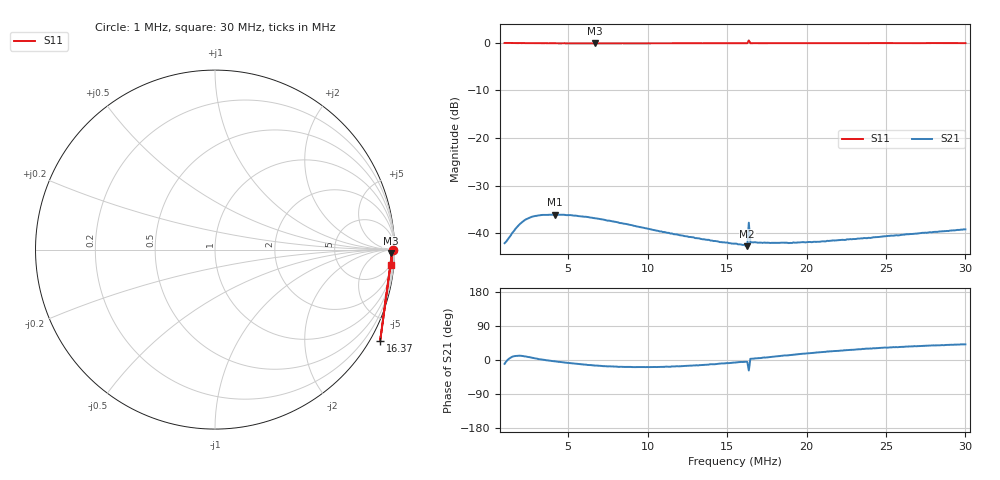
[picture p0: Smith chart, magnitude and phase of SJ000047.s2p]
!File created by NanoVNA-F V2
# Hz S RI R 50
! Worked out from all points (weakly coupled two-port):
!   301 points, 1 MHz to 30 MHz, reference 50 ohm
!   highest |S21| = -36.06 dB at 4.19 MHz (marker M1); lowest = -42.7 dB at 16.27 MHz (marker M2)
!   lowest |S11| = -0.2 dB at 6.703 MHz (marker M3), VSWR 90.15, Z = 2.38e+03 - j2.25e+03 ohm
!   |S11| at or under -10 dB: nowhere
!   S12 and S22 are empty: the file has one direction only
!   S11 on the Smith chart (normalised r, x): 1 MHz: open; 16.37 MHz: -0.40, -3.83; 30 MHz: 4, -23
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1000000  0.9903 -0.00298  0.00777 -0.00138  0 0  0 0
1773328  0.9882 -0.00886  0.0114 0.0022  0 0  0 0
2063326  0.986 -0.00968  0.0127 0.00246  0 0  0 0
2353324  0.9859 -0.0114  0.0139 0.00223  0 0  0 0
2739988  0.9858 -0.0132  0.0149 0.00153  0 0  0 0
3126652  0.9861 -0.0143  0.0154 0.000677  0 0  0 0
4189978  0.9829 -0.0161  0.0157 -0.000984  0 0  0 0
5156638  0.9799 -0.0181  0.0154 -0.0023  0 0  0 0
5833300  0.9804 -0.0193  0.0148 -0.00298  0 0  0 0
6703294  0.9778 -0.0205  0.0139 -0.00367  0 0  0 0
1.06666e7  0.9819 -0.0285  0.0101 -0.00334  0 0  0 0
1.298658e7  0.9823 -0.0345  0.00865 -0.00222  0 0  0 0
1.453324e7  0.9837 -0.0394  0.008 -0.00135  0 0  0 0
1.54999e7  0.9836 -0.0426  0.00775 -0.000934  0 0  0 0
1.60799e7  0.9834 -0.0441  0.00756 -0.000656  0 0  0 0
1.627323e7  0.9836 -0.0455  0.00732 -0.000661  0 0  0 0
1.636989e7  0.92 -0.5099  0.0115 -0.00604  0 0  0 0
1.646656e7  0.9821 -0.0446  0.00807 0.000441  0 0  0 0
1.888321e7  0.9845 -0.0519  0.00772 0.00174  0 0  0 0
2.03332e7  0.983 -0.0574  0.00766 0.00257  0 0  0 0
2.51665e7  0.9844 -0.0712  0.00788 0.0051  0 0  0 0
2.99998e7  0.9827 -0.0849  0.00828 0.00727  0 0  0 0
